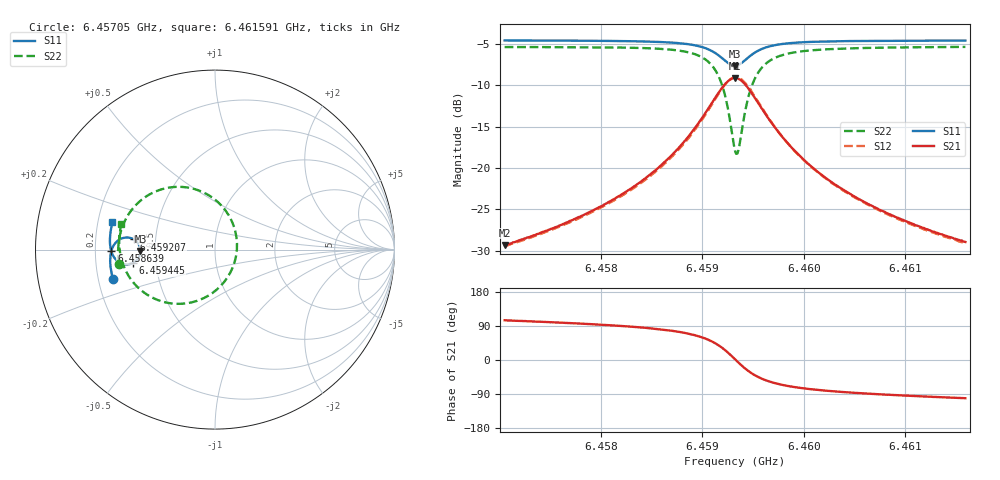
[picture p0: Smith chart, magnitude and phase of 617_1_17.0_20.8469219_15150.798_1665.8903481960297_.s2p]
#  HZ  S  RI  R  50.00
! Rohde & Schwarz Vector Network Analyzer
! Rohde-Schwarz,ZNB20-2Port,1311601062101988,3.16
! Created: UTC 3/20/2024, 11:19:46 PM
! freq[Hz]  re:S11  im:S11  re:S21  im:S21  re:S12  im:S12  re:S22  im:S22
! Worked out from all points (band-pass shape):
!   401 points, 6.45705 GHz to 6.461591 GHz, reference 50 ohm
!   highest |S21| = -9.10 dB at 6.45932 GHz (marker M1); lowest = -29.3 dB at 6.45705 GHz (marker M2)
!   |S21| within 3 dB of the highest: 6.459094 GHz to 6.459548 GHz (453.7 kHz wide, 0.00702 % of centre)
!   lowest |S11| = -7.6 dB at 6.45932 GHz (marker M3), VSWR 2.42, Z = 20.6 - j0.383 ohm
!   |S11| at or under -10 dB: nowhere
!   |S22| runs from -18.3 to -5.3 dB; largest |S21 - S12| = 0.014
!   S11 on the Smith chart (normalised r, x): 6.45705 GHz: 0.26, -0.13; 6.458639 GHz: 0.27, -0.01; 6.459207 GHz: 0.38, +0.05; 6.459445 GHz: 0.37, -0.07; 6.461591 GHz: 0.26, +0.12
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6.4570501e9  -0.5684 -0.1665  -0.00882 0.0331  -0.00681 0.033  -0.5346 -0.0779
6.4578107e9  -0.5816 -0.0998  -0.00525 0.0512  -0.00262 0.0505  -0.539 0.0121
6.4582193e9  -0.5841 -0.0585  0.000782 0.0702  0.00394 0.0688  -0.5303 0.0774
6.4585712e9  -0.5797 -0.0163  0.0152 0.1001  0.0193 0.0972  -0.5034 0.1577
6.4586393e9  -0.5775 -0.00676  0.0208 0.1085  0.0248 0.1052  -0.4929 0.1778
6.4588323e9  -0.5644 0.0236  0.0478 0.1397  0.0519 0.1346  -0.4419 0.2472
6.4589799e9  -0.5415 0.0498  0.0939 0.1702  0.097 0.1634  -0.3567 0.3117
6.4591161e9  -0.497 0.0672  0.1824 0.1866  0.1832 0.179  -0.1949 0.3497
6.4592069e9  -0.4519 0.0564  0.2734 0.1544  0.2735 0.1485  -0.026 0.2972
6.459275e9  -0.4225 0.0238  0.3344 0.0813  0.3366 0.0759  0.0905 0.1648
6.4593204e9  -0.4157 -0.00768  0.3507 0.0122  0.3544 0.00515  0.1226 0.0354
6.4593545e9  -0.4197 -0.0319  0.3444 -0.0411  0.3485 -0.0504  0.1102 -0.0658
6.4593999e9  -0.4356 -0.0584  0.3151 -0.1018  0.3176 -0.1139  0.0507 -0.1808
6.4594453e9  -0.4581 -0.0748  0.2721 -0.1432  0.2713 -0.1568  -0.0366 -0.2563
6.4595361e9  -0.502 -0.0818  0.1857 -0.1743  0.1795 -0.1862  -0.2091 -0.3021
6.4596042e9  -0.5266 -0.0744  0.1367 -0.172  0.1284 -0.1811  -0.3039 -0.2861
6.4596837e9  -0.5464 -0.0611  0.0967 -0.1597  0.0879 -0.1659  -0.3789 -0.2506
6.4598426e9  -0.5681 -0.0333  0.0513 -0.131  0.0435 -0.1338  -0.4601 -0.1767
6.460081e9  -0.581 0.00234  0.022 -0.0988  0.016 -0.0993  -0.5082 -0.093
6.4604329e9  -0.5854 0.0445  0.00573 -0.0708  0.00149 -0.0702  -0.5299 -0.0109
6.4608415e9  -0.5835 0.0856  -0.0017 -0.0525  -0.00457 -0.0517  -0.5335 0.0554
6.4615907e9  -0.5712 0.1523  -0.00669 -0.0351  -0.00851 -0.0341  -0.5217 0.1448
